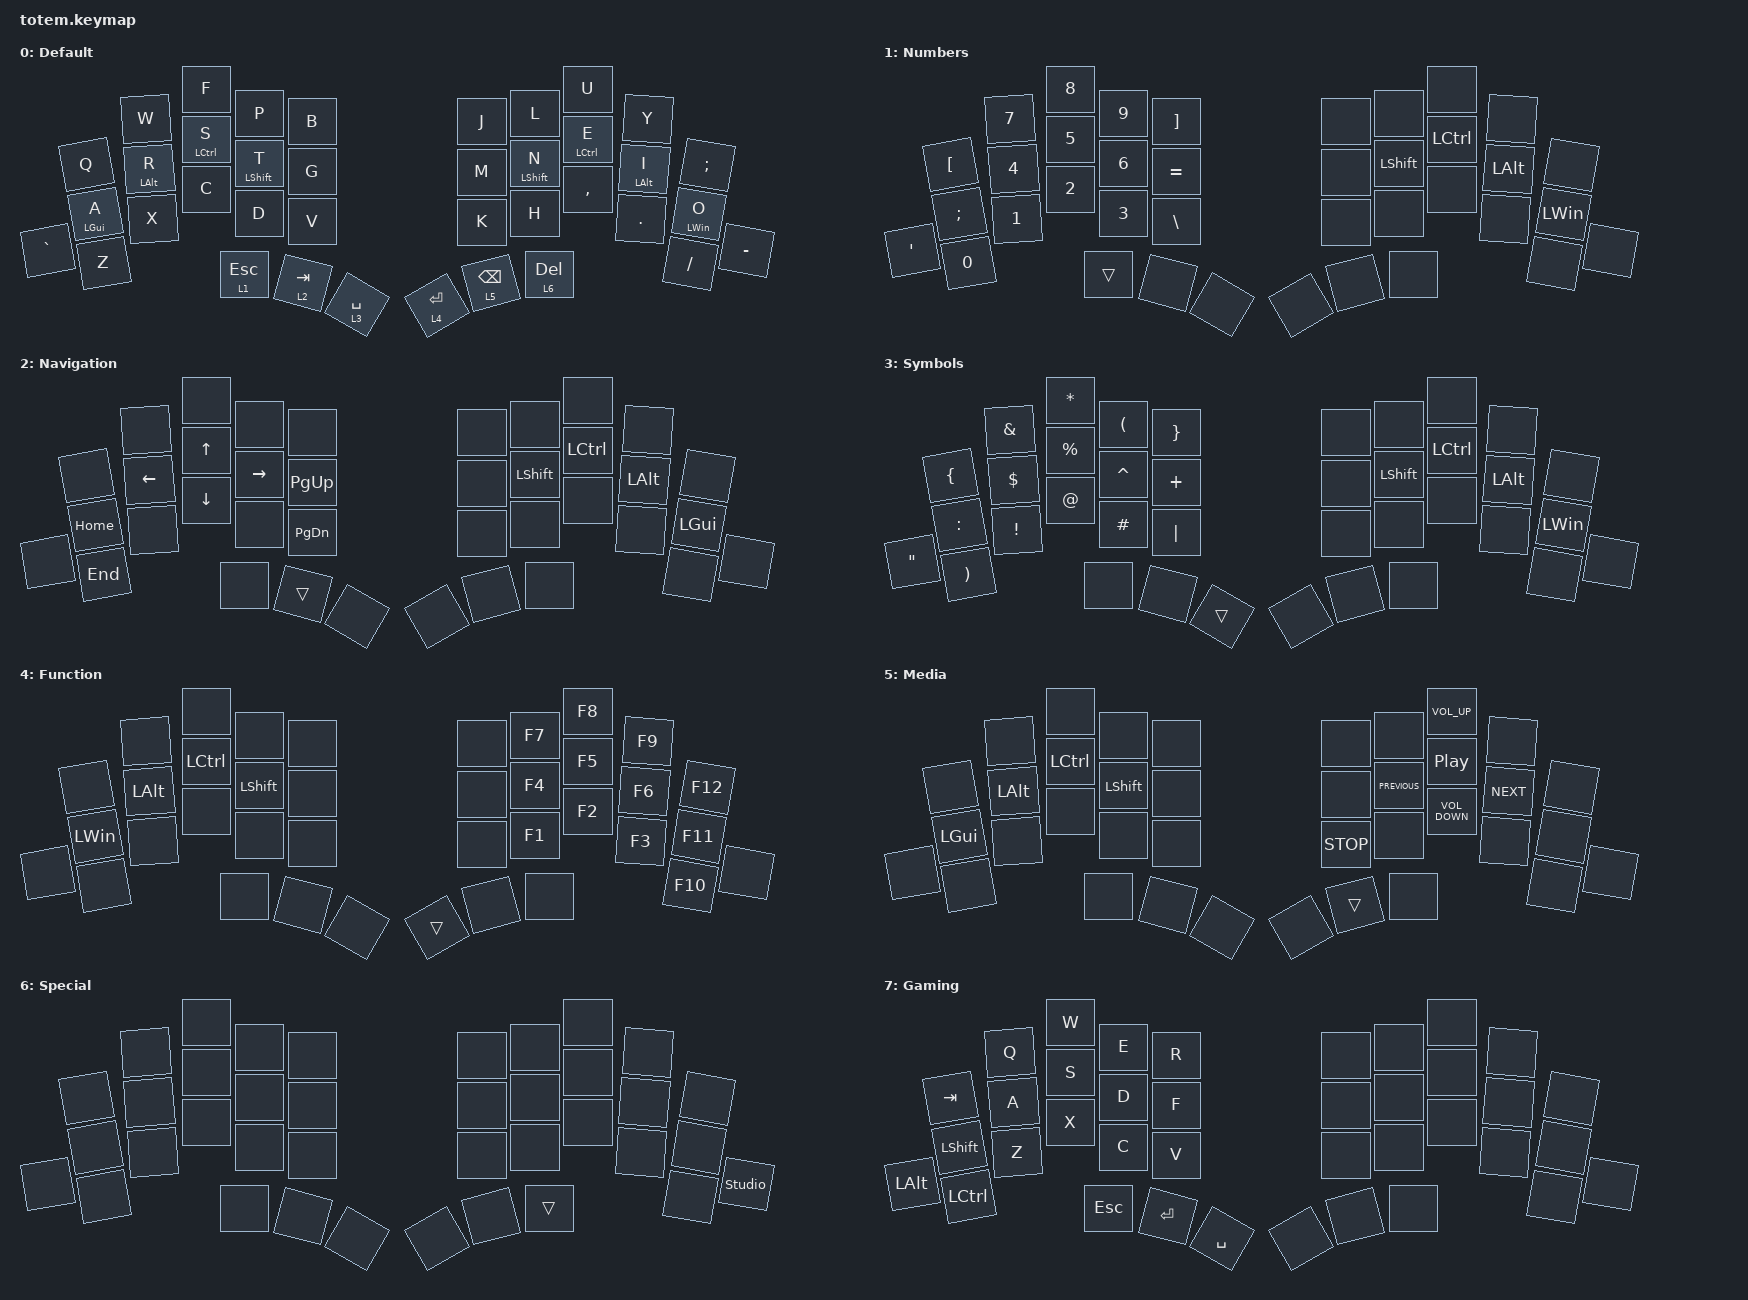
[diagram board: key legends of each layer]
//
//                                                        ▀▀▀▀▀     ▀▀▀▀▀          ▀▀█▀▀
//                                                        ▄▀▀▀▄  ▄  ▄▀▀▀▄  ▄  ▄▀▀▀▄  █  ▄▀▀▀▄
//                                                        █   █  █  █   █  █  █   █  █  █   █
//                                                         ▀▀▀   █   ▀▀▀   █   ▀▀▀   ▀   ▀▀▀
//                                                               █      ▄▄▄█▄▄▄    █   █  
//                                                               ▀      █  █  █     █▄█
//                                                             ▀▀▀▀▀    █  █  █      ▀
//                                                                      ▀  ▀  ▀
//
// ▄▄▄▄▄▄▄▄▄▄▄▄▄▄▄▄▄▄▄▄▄▄▄▄▄▄▄▄▄▄▄▄▄▄▄▄▄▄▄▄▄▄▄▄▄▄▄▄▄▄▄▄▄▄▄▄▄▄▄▄▄▄▄▄▄▄▄▄▄▄▄▄▄▄▄▄▄▄▄▄▄▄▄▄▄▄▄▄▄▄▄▄▄▄▄▄▄▄▄▄▄▄▄▄▄▄▄▄▄▄▄▄▄▄▄▄▄▄▄▄▄▄▄▄▄▄▄▄▄▄▄▄▄▄▄▄▄▄▄▄▄▄▄▄▄▄▄▄▄

#include <behaviors.dtsi>
#include <dt-bindings/zmk/keys.h>

&mt {
    quick-tap-ms = <100>;
    global-quick-tap;
    flavor = "tap-preferred";
    tapping-term-ms = <170>;
};

&lt {
    tapping-term-ms = <240>;
    flavor = "balanced";
    quick-tap-ms = <150>;
};

/ {
    behaviors {
        hm: homerow_mods {
            compatible = "zmk,behavior-hold-tap";
            label = "homerow_mods";
            #binding-cells = <2>;
            flavor = "tap-preferred";
            tapping-term-ms = <200>;
            quick-tap-ms = <125>;
            global-quick-tap;
            bindings = <&kp>, <&kp>;
        };
    };

    combos {
        compatible = "zmk,combos";

        Gaming {
            bindings = <&tog 7>;
            key-positions = <21 25>;
        };

        DongleBootloader {
            bindings = <&bootloader>;
            key-positions = <30 9>;
        };
    };

    keymap {
        compatible = "zmk,keymap";

        Default {
            display-name = "Default";
            bindings = <
           &kp Q           &kp W           &kp F               &kp P             &kp B          &kp J        &kp L             &kp U               &kp Y           &kp SEMICOLON
           &hm LEFT_GUI A  &hm LEFT_ALT R  &hm LEFT_CONTROL S  &hm LEFT_SHIFT T  &kp G          &kp M        &hm LEFT_SHIFT N  &hm LEFT_CONTROL E  &hm LEFT_ALT I  &hm LEFT_WIN O
&kp GRAVE  &kp Z           &kp X           &kp C               &kp D             &kp V          &kp K        &kp H             &kp COMMA           &kp PERIOD      &kp SLASH       &kp MINUS
                                           &lt 1 ESCAPE        &lt 2 TAB         &lt 3 SPACE    &lt 4 ENTER  &lt 5 BACKSPACE   &lt 6 DELETE
            >;
        };

        L_Numbers {
            bindings = <
                  &kp LEFT_BRACKET  &kp NUMBER_7  &kp NUMBER_8  &kp NUMBER_9  &kp RIGHT_BRACKET    &none  &none           &none             &none         &none
                  &kp SEMICOLON     &kp NUMBER_4  &kp NUMBER_5  &kp NUMBER_6  &kp EQUAL            &none  &kp LEFT_SHIFT  &kp LEFT_CONTROL  &kp LEFT_ALT  &kp LEFT_WIN
&kp SINGLE_QUOTE  &kp NUMBER_0      &kp NUMBER_1  &kp NUMBER_2  &kp NUMBER_3  &kp BACKSLASH        &none  &none           &none             &none         &none         &none
                                                  &trans        &none         &none                &none  &none           &none
            >;

            label = "Numbers";
        };

        L_Navigation {
            display-name = "Navigation";
            bindings = <
       &none     &none           &none           &none            &none            &none  &none           &none             &none         &none
       &kp HOME  &kp LEFT_ARROW  &kp UP_ARROW    &kp RIGHT_ARROW  &kp PAGE_UP      &none  &kp LEFT_SHIFT  &kp LEFT_CONTROL  &kp LEFT_ALT  &kp LEFT_GUI
&none  &kp END   &none           &kp DOWN_ARROW  &none            &kp PAGE_DOWN    &none  &none           &none             &none         &none         &none
                                 &none           &trans           &none            &none  &none           &none
            >;
        };

        L_Symbols {
            display-name = "Symbols";
            bindings = <
                   &kp LEFT_BRACE         &kp AMPERSAND    &kp ASTERISK  &kp LEFT_PARENTHESIS  &kp RIGHT_BRACE    &none  &none           &none             &none         &none
                   &kp COLON              &kp DOLLAR       &kp PERCENT   &kp CARET             &kp PLUS           &none  &kp LEFT_SHIFT  &kp LEFT_CONTROL  &kp LEFT_ALT  &kp LEFT_WIN
&kp DOUBLE_QUOTES  &kp RIGHT_PARENTHESIS  &kp EXCLAMATION  &kp AT_SIGN   &kp HASH              &kp PIPE           &none  &none           &none             &none         &none         &none
                                                           &none         &none                 &trans             &none  &none           &none
            >;
        };

        R_Function {
            bindings = <
       &none         &none         &none             &none           &none    &none   &kp F7  &kp F8  &kp F9  &kp F12
       &kp LEFT_WIN  &kp LEFT_ALT  &kp LEFT_CONTROL  &kp LEFT_SHIFT  &none    &none   &kp F4  &kp F5  &kp F6  &kp F11
&none  &none         &none         &none             &none           &none    &none   &kp F1  &kp F2  &kp F3  &kp F10  &none
                                   &none             &none           &none    &trans  &none   &none
            >;

            label = "Function";
        };

        R_Media {
            bindings = <
       &none         &none         &none             &none           &none    &none       &none           &kp C_VOLUME_UP    &none       &none
       &kp LEFT_GUI  &kp LEFT_ALT  &kp LEFT_CONTROL  &kp LEFT_SHIFT  &none    &none       &kp C_PREVIOUS  &kp C_PLAY_PAUSE   &kp C_NEXT  &none
&none  &none         &none         &none             &none           &none    &kp C_STOP  &none           &kp C_VOLUME_DOWN  &none       &none  &none
                                   &none             &none           &none    &none       &trans          &none
            >;

            label = "Media";
        };

        R_Special {
            bindings = <
       &none  &none  &none  &none  &none    &none  &none  &none   &none  &none
       &none  &none  &none  &none  &none    &none  &none  &none   &none  &none
&none  &none  &none  &none  &none  &none    &none  &none  &none   &none  &none  &studio_unlock
                     &none  &none  &none    &none  &none  &trans
            >;

            label = "Special";
        };

        L_Gaming {
            bindings = <
              &kp TAB           &kp Q  &kp W       &kp E      &kp R        &none  &none  &none  &none  &none
              &kp LEFT_SHIFT    &kp A  &kp S       &kp D      &kp F        &none  &none  &none  &none  &none
&kp LEFT_ALT  &kp LEFT_CONTROL  &kp Z  &kp X       &kp C      &kp V        &none  &none  &none  &none  &none  &none
                                       &kp ESCAPE  &kp ENTER  &kp SPACE    &none  &none  &none
            >;

            label = "Gaming";
        };
    };
};
